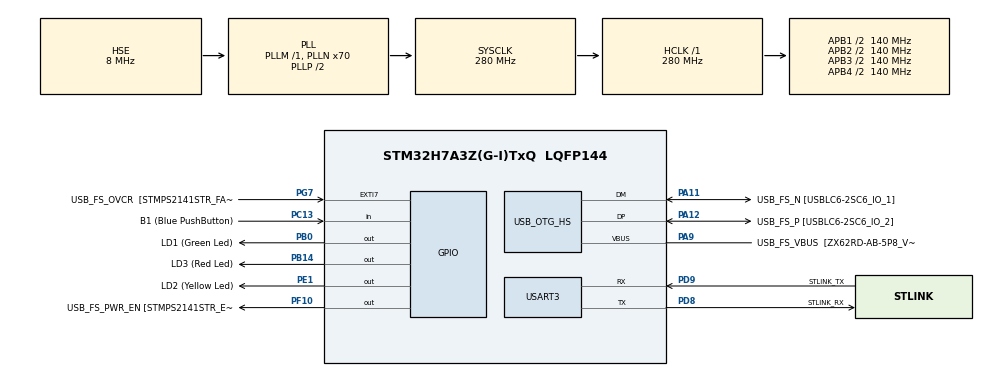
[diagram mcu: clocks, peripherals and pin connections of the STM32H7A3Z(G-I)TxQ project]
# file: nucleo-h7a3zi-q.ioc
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Mcu.Family=STM32H7
Mcu.Name=STM32H7A3Z(G-I)TxQ
Mcu.Package=LQFP144
NVIC.OTG_HS_IRQn=true\:0\:0\:false\:false\:true\:false\:true\:true
NVIC.PriorityGroup=NVIC_PRIORITYGROUP_4
NVIC.TIM17_IRQn=true\:15\:0\:false\:false\:true\:false\:true\:true
NVIC.TimeBase=TIM17_IRQn
NVIC.TimeBaseIP=TIM17
PA10.GPIO_Label=USB_FS_ID [ZX62RD-AB-5P8_ID]
PA10.Signal=USB_OTG_HS_ID
PA11.GPIO_Label=USB_FS_N [USBLC6-2SC6_IO_1]
PA11.Mode=Host_FS
PA11.Signal=USB_OTG_HS_DM
PA12.GPIO_Label=USB_FS_P [USBLC6-2SC6_IO_2]
PA12.Mode=Host_FS
PA12.Signal=USB_OTG_HS_DP
PA9.GPIO_Label=USB_FS_VBUS  [ZX62RD-AB-5P8_VBUS]
PA9.Mode=Activate_VBUS_FS
PA9.Signal=USB_OTG_HS_VBUS
PB0.GPIO_Label=LD1 (Green Led)
PB0.Signal=GPIO_Output
PB14.GPIO_Label=LD3 (Red Led)
PB14.Signal=GPIO_Output
PC13.GPIO_Label=B1 (Blue PushButton)
PC13.Signal=GPIO_Input
PC14-OSC32_IN.GPIO_Label=OSC32_IN
PC14-OSC32_IN.Mode=LSE-External-Oscillator
PC14-OSC32_IN.Signal=RCC_OSC32_IN
PC15-OSC32_OUT.GPIO_Label=OSC32_OUT
PC15-OSC32_OUT.Mode=LSE-External-Oscillator
PC15-OSC32_OUT.Signal=RCC_OSC32_OUT
PD8.GPIO_Label=STLINK_RX
PD8.Mode=Asynchronous
PD8.Signal=USART3_TX
PD9.GPIO_Label=STLINK_TX
PD9.Mode=Asynchronous
PD9.Signal=USART3_RX
PE1.GPIO_Label=LD2 (Yellow Led)
PE1.Signal=GPIO_Output
PF10.GPIO_Label=USB_FS_PWR_EN [STMPS2141STR_EN]
PF10.Signal=GPIO_Output
PG7.GPIO_Label=USB_FS_OVCR  [STMPS2141STR_FAULT]
PG7.Signal=GPXTI7
PH0-OSC_IN.GPIO_Label=PH0-MCU
PH0-OSC_IN.Mode=HSE-External-Clock-Source
PH0-OSC_IN.Signal=RCC_OSC_IN
PH1-OSC_OUT.GPIO_Label=PH1-MCU
PH1-OSC_OUT.Signal=RCC_OSC_OUT
ProjectManager.HeapSize=0x200
ProjectManager.StackSize=0x400
ProjectManager.TargetToolchain=STM32CubeIDE
RCC.ADCFreq_Value=16125000
RCC.APB1Freq_Value=140000000
RCC.APB2Freq_Value=140000000
RCC.APB3Freq_Value=140000000
RCC.APB4Freq_Value=140000000
RCC.CDPPRE=RCC_APB3_DIV2
RCC.CDPPRE1=RCC_APB1_DIV2
RCC.CDPPRE2=RCC_APB2_DIV2
RCC.CortexFreq_Value=280000000
RCC.DIVM1=1
RCC.DIVM3=1
RCC.DIVN1=70
RCC.DIVN3=24
RCC.DIVQ1=4
RCC.HCLKFreq_Value=280000000
RCC.HSE_VALUE=8000000
RCC.PLLFRACN=0
RCC.PLLSourceVirtual=RCC_PLLSOURCE_HSE
RCC.PWR_Regulator_Voltage_Scale=PWR_REGULATOR_VOLTAGE_SCALE0
RCC.SRDPPRE=RCC_APB4_DIV2
RCC.SYSCLKFreq_VALUE=280000000
RCC.SYSCLKSource=RCC_SYSCLKSOURCE_PLLCLK
RCC.SupplySource=PWR_DIRECT_SMPS_SUPPLY
RCC.USBCLockSelection=RCC_USBCLKSOURCE_HSI48
RCC.USBFreq_Value=48000000
USART3.VirtualMode-Asynchronous=VM_ASYNC
USB_HOST.USBH_HandleTypeDef=hUsbHostHS
USB_HOST.VirtualModeHS=Cdc
USB_OTG_HS.VirtualMode-Host_FS=Host_FS
VP_SYS_VS_tim17.Mode=TIM17
VP_USB_HOST_VS_USB_HOST_CDC_HS.Mode=CDC_HS
board=NUCLEO-H7A3ZI-Q

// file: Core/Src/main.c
/* USER CODE BEGIN Header */
/**
  ******************************************************************************
  * @file           : main.c
  * @brief          : Main program body
  ******************************************************************************
  * @attention
  *
  * Copyright (c) 2023 STMicroelectronics.
  * All rights reserved.
  *
  * This software is licensed under terms that can be found in the LICENSE file
  * in the root directory of this software component.
  * If no LICENSE file comes with this software, it is provided AS-IS.
  *
  ******************************************************************************
  */
/* USER CODE END Header */
#include "main.h"
#include "usart.h"
#include "usb_device.h"
#include "gpio.h"

/* USER CODE BEGIN Includes */
#include <stdbool.h>
#include "usbd_cdc_if.h"
#include <string.h>
/* USER CODE END Includes */

void SystemClock_Config(void);

/* USER CODE BEGIN 0 */
__weak void app_main(void)
{
	uint8_t buffer[] = "Hello, World\r\n";
	do
	{
		CDC_Transmit_HS(buffer, sizeof(buffer));
		HAL_Delay(1000);
	}while(true);

}
/* USER CODE END 0 */

int main(void)
{

  /* MCU Configuration--------------------------------------------------------*/

  /* Reset of all peripherals, Initializes the Flash interface and the Systick. */
  HAL_Init();

  /* Configure the system clock */
  SystemClock_Config();

  /* Initialize all configured peripherals */
  MX_GPIO_Init();
  MX_USART3_UART_Init();
  MX_USB_DEVICE_Init();
  /* USER CODE BEGIN 2 */
  HAL_GPIO_TogglePin(LD1_GPIO_Port, LD1_Pin);
  app_main();
  /* USER CODE END 2 */

  /* Infinite loop */
  while (1)
  {

    /* USER CODE BEGIN 3 */
	HAL_Delay(50);
	HAL_GPIO_TogglePin(LD3_GPIO_Port, LD3_Pin);
	HAL_Delay(50);
	HAL_GPIO_TogglePin(LD1_GPIO_Port, LD1_Pin);
  }
  /* USER CODE END 3 */
}

void SystemClock_Config(void)
{
  RCC_OscInitTypeDef RCC_OscInitStruct = {0};
  RCC_ClkInitTypeDef RCC_ClkInitStruct = {0};

  /*AXI clock gating */
  RCC->CKGAENR = 0xFFFFFFFF;

  /** Supply configuration update enable
  */
  HAL_PWREx_ConfigSupply(PWR_DIRECT_SMPS_SUPPLY);

  /** Configure the main internal regulator output voltage
  */
  __HAL_PWR_VOLTAGESCALING_CONFIG(PWR_REGULATOR_VOLTAGE_SCALE0);

  while(!__HAL_PWR_GET_FLAG(PWR_FLAG_VOSRDY)) {}

  /** Initializes the RCC Oscillators according to the specified parameters
  * in the RCC_OscInitTypeDef structure.
  */
  RCC_OscInitStruct.OscillatorType = RCC_OSCILLATORTYPE_HSI48|RCC_OSCILLATORTYPE_HSE;
  RCC_OscInitStruct.HSEState = RCC_HSE_BYPASS;
  RCC_OscInitStruct.HSI48State = RCC_HSI48_ON;
  RCC_OscInitStruct.PLL.PLLState = RCC_PLL_ON;
  RCC_OscInitStruct.PLL.PLLSource = RCC_PLLSOURCE_HSE;
  RCC_OscInitStruct.PLL.PLLM = 1;
  RCC_OscInitStruct.PLL.PLLN = 70;
  RCC_OscInitStruct.PLL.PLLP = 2;
  RCC_OscInitStruct.PLL.PLLQ = 4;
  RCC_OscInitStruct.PLL.PLLR = 2;
  RCC_OscInitStruct.PLL.PLLRGE = RCC_PLL1VCIRANGE_3;
  RCC_OscInitStruct.PLL.PLLVCOSEL = RCC_PLL1VCOWIDE;
  RCC_OscInitStruct.PLL.PLLFRACN = 0;
  if (HAL_RCC_OscConfig(&RCC_OscInitStruct) != HAL_OK)
  {
    Error_Handler();
  }

  /** Initializes the CPU, AHB and APB buses clocks
  */
  RCC_ClkInitStruct.ClockType = RCC_CLOCKTYPE_HCLK|RCC_CLOCKTYPE_SYSCLK
                              |RCC_CLOCKTYPE_PCLK1|RCC_CLOCKTYPE_PCLK2
                              |RCC_CLOCKTYPE_D3PCLK1|RCC_CLOCKTYPE_D1PCLK1;
  RCC_ClkInitStruct.SYSCLKSource = RCC_SYSCLKSOURCE_PLLCLK;
  RCC_ClkInitStruct.SYSCLKDivider = RCC_SYSCLK_DIV1;
  RCC_ClkInitStruct.AHBCLKDivider = RCC_HCLK_DIV1;
  RCC_ClkInitStruct.APB3CLKDivider = RCC_APB3_DIV2;
  RCC_ClkInitStruct.APB1CLKDivider = RCC_APB1_DIV2;
  RCC_ClkInitStruct.APB2CLKDivider = RCC_APB2_DIV2;
  RCC_ClkInitStruct.APB4CLKDivider = RCC_APB4_DIV2;

  if (HAL_RCC_ClockConfig(&RCC_ClkInitStruct, FLASH_LATENCY_6) != HAL_OK)
  {
    Error_Handler();
  }
}

void HAL_TIM_PeriodElapsedCallback(TIM_HandleTypeDef *htim)
{
  if (htim->Instance == TIM17) {
    HAL_IncTick();
  }
}

void Error_Handler(void)
{
  __disable_irq();
  while (1)
  {
  }
}
